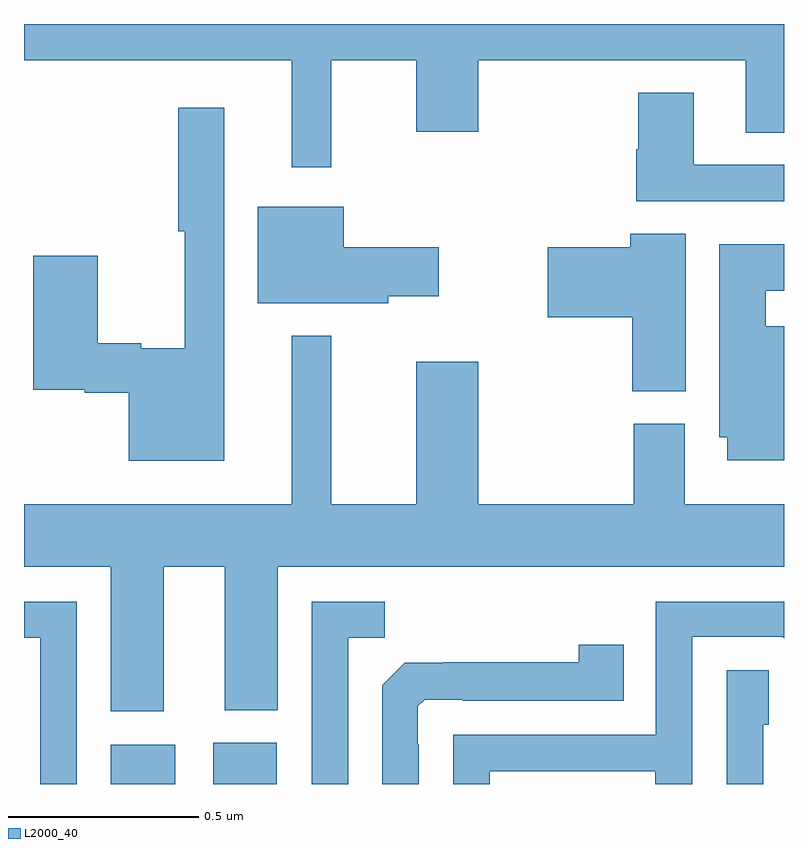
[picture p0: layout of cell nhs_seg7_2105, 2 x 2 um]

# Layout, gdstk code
import gdstk
lib = gdstk.Library(unit=1e-6, precision=1e-09)
def R(c, l, rs):  # rectangles x0, y0, x1, y1
    for r in rs: c.add(gdstk.rectangle(r[:2], r[2:], *l))
def P(c, l, *ps):  # polygons
    for p in ps: c.add(gdstk.Polygon(p, *l))
L2000_40 = (2000, 40)

nhs_seg7_2105 = lib.new_cell('nhs_seg7_2105')
R(nhs_seg7_2105, L2000_40, [(140.228,1044,140.398,1044.103), (140.498,1044,140.665,1044.109)])
P(nhs_seg7_2105, L2000_40, [(140.809,1045.904),(141.032,1045.904),(141.032,1045.716),(141.196,1045.716),(141.196,1045.904),(141.899,1045.904),(141.899,1045.714),(142,1045.714),(142,1046),(140,1046),(140,1045.904),(140.705,1045.904),(140.705,1045.623),(140.809,1045.623)],
  [(142,1045.629),(141.763,1045.629),(141.763,1045.819),(141.616,1045.819),(141.616,1045.671),(141.611,1045.671),(141.611,1045.533),(142,1045.533)],
  [(140.527,1045.78),(140.406,1045.78),(140.406,1045.455),(140.423,1045.455),(140.423,1045.147),(140.309,1045.147),(140.309,1045.16),(140.194,1045.16),(140.194,1045.39),(140.024,1045.39),(140.024,1045.037),(140.16,1045.037),(140.16,1045.03),(140.276,1045.03),(140.276,1044.851),(140.527,1044.851)],
  [(140.958,1045.283),(141.091,1045.283),(141.091,1045.413),(140.842,1045.413),(140.842,1045.519),(140.615,1045.519),(140.615,1045.265),(140.958,1045.265)],
  [(141.742,1045.448),(141.596,1045.448),(141.596,1045.412),(141.378,1045.412),(141.378,1045.228),(141.601,1045.228),(141.601,1045.033),(141.742,1045.033)],
  [(142,1045.204),(141.952,1045.204),(141.952,1045.298),(142,1045.298),(142,1045.42),(141.83,1045.42),(141.83,1044.912),(141.851,1044.912),(141.851,1044.852),(142,1044.852)],
  [(140.368,1044.572),(140.528,1044.572),(140.528,1044.194),(140.668,1044.194),(140.668,1044.572),(142,1044.572),(142,1044.736),(141.739,1044.736),(141.739,1044.948),(141.604,1044.948),(141.604,1044.736),(141.196,1044.736),(141.196,1045.111),(141.032,1045.111),(141.032,1044.736),(140.809,1044.736),(140.809,1045.18),(140.705,1045.18),(140.705,1044.736),(140,1044.736),(140,1044.572),(140.228,1044.572),(140.228,1044.192),(140.368,1044.192)],
  [(140.139,1044.48),(140,1044.48),(140,1044.385),(140.043,1044.385),(140.043,1044),(140.139,1044)],
  [(140.853,1044.385),(140.949,1044.385),(140.949,1044.48),(140.757,1044.48),(140.757,1044),(140.853,1044)],
  [(141.225,1044.033),(141.661,1044.033),(141.661,1044),(141.759,1044),(141.759,1044.387),(141.996,1044.387),(142,1044.383),(142,1044.48),(141.663,1044.48),(141.663,1044.129),(141.129,1044.129),(141.129,1044),(141.225,1044)],
  [(141.039,1044.104),(141.036,1044.104),(141.036,1044.204),(141.054,1044.222),(141.154,1044.222),(141.154,1044.219),(141.578,1044.219),(141.578,1044.367),(141.46,1044.367),(141.46,1044.32),(141.103,1044.32),(141.103,1044.319),(141.002,1044.319),(140.943,1044.26),(140.943,1044),(141.039,1044)],
  [(141.945,1044.156),(141.96,1044.156),(141.96,1044.299),(141.849,1044.299),(141.849,1044),(141.945,1044)])

lib.write_gds('nhs_seg7_2105.gds')
